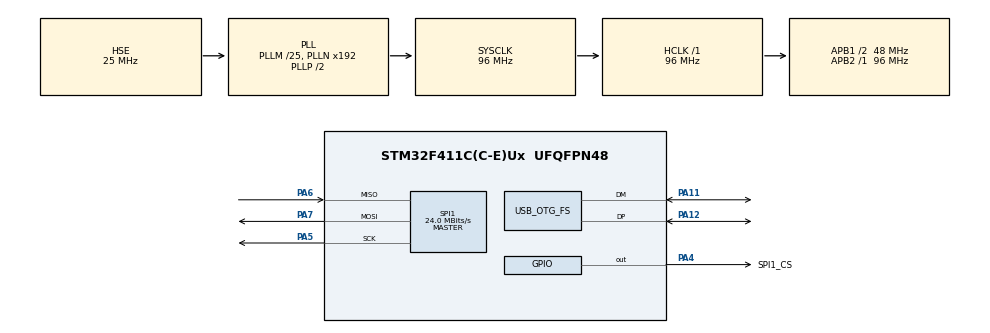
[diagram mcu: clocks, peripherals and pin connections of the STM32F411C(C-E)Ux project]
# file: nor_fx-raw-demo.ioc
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Mcu.Family=STM32F4
Mcu.Name=STM32F411C(C-E)Ux
Mcu.Package=UFQFPN48
NVIC.OTG_FS_IRQn=true\:0\:0\:false\:false\:true\:false\:true\:true
NVIC.PriorityGroup=NVIC_PRIORITYGROUP_4
PA11.Mode=Device_Only
PA11.Signal=USB_OTG_FS_DM
PA12.Mode=Device_Only
PA12.Signal=USB_OTG_FS_DP
PA13.Mode=Serial_Wire
PA13.Signal=SYS_JTMS-SWDIO
PA14.Mode=Serial_Wire
PA14.Signal=SYS_JTCK-SWCLK
PA4.GPIO_Label=SPI1_CS
PA4.Signal=GPIO_Output
PA5.Mode=Full_Duplex_Master
PA5.Signal=SPI1_SCK
PA6.Mode=Full_Duplex_Master
PA6.Signal=SPI1_MISO
PA7.Mode=Full_Duplex_Master
PA7.Signal=SPI1_MOSI
PH0\ -\ OSC_IN.Mode=HSE-External-Oscillator
PH0\ -\ OSC_IN.Signal=RCC_OSC_IN
PH1\ -\ OSC_OUT.Mode=HSE-External-Oscillator
PH1\ -\ OSC_OUT.Signal=RCC_OSC_OUT
ProjectManager.HeapSize=0x200
ProjectManager.StackSize=0x400
ProjectManager.TargetToolchain=CMake
RCC.48MHZClocksFreq_Value=48000000
RCC.AHBFreq_Value=96000000
RCC.APB1CLKDivider=RCC_HCLK_DIV2
RCC.APB1Freq_Value=48000000
RCC.APB1TimFreq_Value=96000000
RCC.APB2Freq_Value=96000000
RCC.APB2TimFreq_Value=96000000
RCC.CortexFreq_Value=96000000
RCC.HCLKFreq_Value=96000000
RCC.HSE_VALUE=25000000
RCC.HSI_VALUE=16000000
RCC.LSE_VALUE=32768
RCC.PLLM=25
RCC.SYSCLKFreq_VALUE=96000000
RCC.SYSCLKSource=RCC_SYSCLKSOURCE_PLLCLK
RCC.VCOOutputFreq_Value=192000000
SPI1.BaudRatePrescaler=SPI_BAUDRATEPRESCALER_4
SPI1.CalculateBaudRate=24.0 MBits/s
SPI1.Direction=SPI_DIRECTION_2LINES
SPI1.Mode=SPI_MODE_MASTER
SPI1.VirtualType=VM_MASTER
USB_DEVICE.CLASS_NAME_FS=CDC
USB_DEVICE.VirtualMode=Cdc
USB_DEVICE.VirtualModeFS=Cdc_FS
USB_OTG_FS.VirtualMode=Device_Only
VP_USB_DEVICE_VS_USB_DEVICE_CDC_FS.Mode=CDC_FS
board=custom

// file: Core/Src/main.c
/* USER CODE BEGIN Header */
/**
  ******************************************************************************
  * @file           : main.c
  * @brief          : Main program body
  ******************************************************************************
  * @attention
  *
  * Copyright (c) 2026 STMicroelectronics.
  * All rights reserved.
  *
  * This software is licensed under terms that can be found in the LICENSE file
  * in the root directory of this software component.
  * If no LICENSE file comes with this software, it is provided AS-IS.
  *
  ******************************************************************************
  */
/* USER CODE END Header */
#include "main.h"
#include "usb_device.h"

/* USER CODE BEGIN Includes */
#include "nor_fx.h"
#include "norfx_selftest.h"
#include "norfx_test_log.h"
#include "stm32f4x_port.h"
/* USER CODE END Includes */

SPI_HandleTypeDef hspi1;

/* USER CODE BEGIN PV */
stm32f4x_port_context_t port = {
  .hspi = &hspi1,
  .cs_port = SPI1_CS_GPIO_Port,
  .cs_pin = SPI1_CS_Pin,
};

struct norfx_device dev;
norfx_selftest_summary_t g_norfx_selftest_summary;

/* USER CODE END PV */

void SystemClock_Config(void);
static void MX_GPIO_Init(void);
static void MX_SPI1_Init(void);

int main(void)
{

  /* MCU Configuration--------------------------------------------------------*/

  /* Reset of all peripherals, Initializes the Flash interface and the Systick. */
  HAL_Init();

  /* Configure the system clock */
  SystemClock_Config();

  /* Initialize all configured peripherals */
  MX_GPIO_Init();
  MX_SPI1_Init();
  MX_USB_DEVICE_Init();
  /* USER CODE BEGIN 2 */
  dev.context = &port;
  dev.spi_chip_select = spi_chip_select;
  dev.spi_chip_deselect = spi_chip_deselect;
  dev.spi_write = spi_write;
  dev.spi_read = spi_read;
  dev.get_tick_ms = get_tick_ms;
  dev.delay_ms = delay_ms;

  norfx_test_log_init();
  g_norfx_selftest_summary = norfx_selftest_run(&dev);

  /* USER CODE END 2 */

  /* Infinite loop */
  while (1)
  {

  }
}

void SystemClock_Config(void)
{
  RCC_OscInitTypeDef RCC_OscInitStruct = {0};
  RCC_ClkInitTypeDef RCC_ClkInitStruct = {0};

  /** Configure the main internal regulator output voltage
  */
  __HAL_RCC_PWR_CLK_ENABLE();
  __HAL_PWR_VOLTAGESCALING_CONFIG(PWR_REGULATOR_VOLTAGE_SCALE1);

  /** Initializes the RCC Oscillators according to the specified parameters
  * in the RCC_OscInitTypeDef structure.
  */
  RCC_OscInitStruct.OscillatorType = RCC_OSCILLATORTYPE_HSE;
  RCC_OscInitStruct.HSEState = RCC_HSE_ON;
  RCC_OscInitStruct.PLL.PLLState = RCC_PLL_ON;
  RCC_OscInitStruct.PLL.PLLSource = RCC_PLLSOURCE_HSE;
  RCC_OscInitStruct.PLL.PLLM = 25;
  RCC_OscInitStruct.PLL.PLLN = 192;
  RCC_OscInitStruct.PLL.PLLP = RCC_PLLP_DIV2;
  RCC_OscInitStruct.PLL.PLLQ = 4;
  if (HAL_RCC_OscConfig(&RCC_OscInitStruct) != HAL_OK)
  {
    Error_Handler();
  }

  /** Initializes the CPU, AHB and APB buses clocks
  */
  RCC_ClkInitStruct.ClockType = RCC_CLOCKTYPE_HCLK|RCC_CLOCKTYPE_SYSCLK
                              |RCC_CLOCKTYPE_PCLK1|RCC_CLOCKTYPE_PCLK2;
  RCC_ClkInitStruct.SYSCLKSource = RCC_SYSCLKSOURCE_PLLCLK;
  RCC_ClkInitStruct.AHBCLKDivider = RCC_SYSCLK_DIV1;
  RCC_ClkInitStruct.APB1CLKDivider = RCC_HCLK_DIV2;
  RCC_ClkInitStruct.APB2CLKDivider = RCC_HCLK_DIV1;

  if (HAL_RCC_ClockConfig(&RCC_ClkInitStruct, FLASH_LATENCY_3) != HAL_OK)
  {
    Error_Handler();
  }
}

static void MX_SPI1_Init(void)
{

  /* SPI1 parameter configuration*/
  hspi1.Instance = SPI1;
  hspi1.Init.Mode = SPI_MODE_MASTER;
  hspi1.Init.Direction = SPI_DIRECTION_2LINES;
  hspi1.Init.DataSize = SPI_DATASIZE_8BIT;
  hspi1.Init.CLKPolarity = SPI_POLARITY_LOW;
  hspi1.Init.CLKPhase = SPI_PHASE_1EDGE;
  hspi1.Init.NSS = SPI_NSS_SOFT;
  hspi1.Init.BaudRatePrescaler = SPI_BAUDRATEPRESCALER_4;
  hspi1.Init.FirstBit = SPI_FIRSTBIT_MSB;
  hspi1.Init.TIMode = SPI_TIMODE_DISABLE;
  hspi1.Init.CRCCalculation = SPI_CRCCALCULATION_DISABLE;
  hspi1.Init.CRCPolynomial = 10;
  if (HAL_SPI_Init(&hspi1) != HAL_OK)
  {
    Error_Handler();
  }

}

static void MX_GPIO_Init(void)
{
  GPIO_InitTypeDef GPIO_InitStruct = {0};

  /* GPIO Ports Clock Enable */
  __HAL_RCC_GPIOH_CLK_ENABLE();
  __HAL_RCC_GPIOA_CLK_ENABLE();

  /*Configure GPIO pin Output Level */
  HAL_GPIO_WritePin(SPI1_CS_GPIO_Port, SPI1_CS_Pin, GPIO_PIN_SET);

  /*Configure GPIO pin : SPI1_CS_Pin */
  GPIO_InitStruct.Pin = SPI1_CS_Pin;
  GPIO_InitStruct.Mode = GPIO_MODE_OUTPUT_PP;
  GPIO_InitStruct.Pull = GPIO_NOPULL;
  GPIO_InitStruct.Speed = GPIO_SPEED_FREQ_LOW;
  HAL_GPIO_Init(SPI1_CS_GPIO_Port, &GPIO_InitStruct);

}

void Error_Handler(void)
{
  /* USER CODE BEGIN Error_Handler_Debug */
  /* User can add his own implementation to report the HAL error return state */
  norfx_test_log_write("[fatal] Error_Handler\r\n");
  __disable_irq();
  while (1)
  {
  }
  /* USER CODE END Error_Handler_Debug */
}
